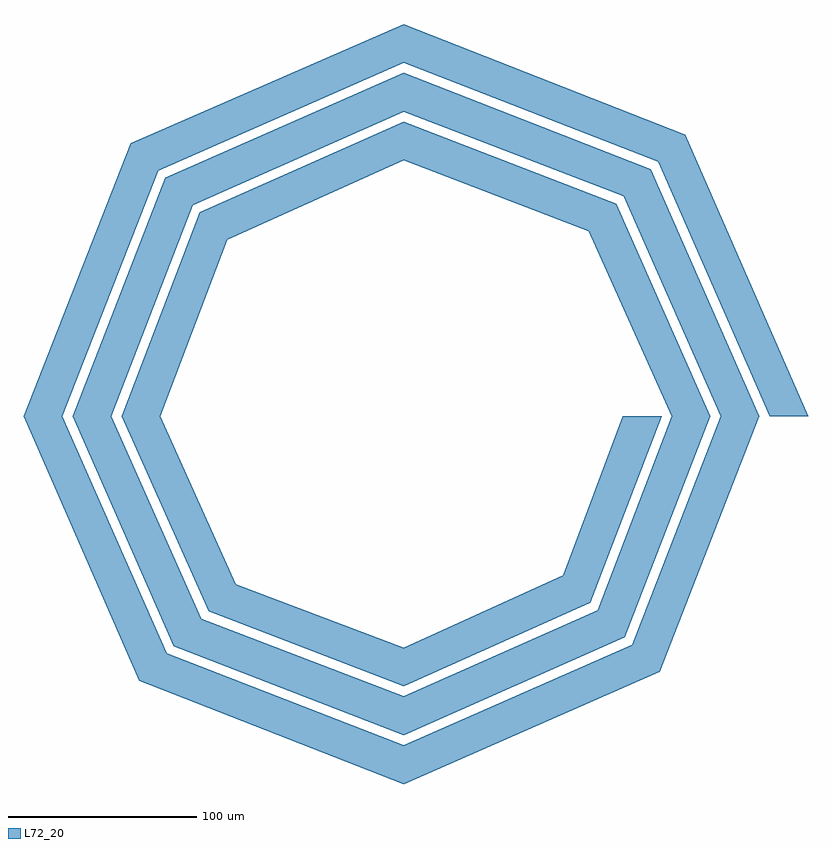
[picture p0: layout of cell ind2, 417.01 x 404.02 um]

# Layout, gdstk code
import gdstk
lib = gdstk.Library(unit=1e-6, precision=1e-09)
def P(c, l, *ps):  # polygons
    for p in ps: c.add(gdstk.Polygon(p, *l))
L72_20 = (72, 20)

ind2 = lib.new_cell('ind2')
P(ind2, L72_20, [(551.44,350.51),(492.19,485.7),(506.73,500.24),(572,350.51)],
  [(492.19,485.7),(357,538.45),(357,559.01),(506.73,500.24)],
  [(226.4,481.1),(211.86,495.65),(357,559.01),(357,538.45)],
  [(154.99,350.51),(211.86,495.65),(226.4,481.1),(175.55,350.51)],
  [(216.45,209.96),(154.99,350.51),(175.55,350.51),(231,224.5)],
  [(357,154.99),(216.45,209.96),(231,224.5),(357,175.55)],
  [(357,154.99),(357,175.55),(478.41,229.09),(492.96,214.55)],
  [(492.96,214.55),(478.41,229.09),(525.46,350.51),(546.02,350.51)],
  [(525.46,350.51),(473.82,467.33),(488.36,481.87),(546.02,350.51)],
  [(473.82,467.33),(357,512.47),(357,533.03),(488.36,481.87)],
  [(244.77,462.74),(230.23,477.28),(357,533.03),(357,512.47)],
  [(180.97,350.51),(230.23,477.28),(244.77,462.74),(201.53,350.51)],
  [(234.82,228.33),(180.97,350.51),(201.53,350.51),(249.36,242.87)],
  [(357,180.97),(234.82,228.33),(249.36,242.87),(357,201.53)],
  [(357,180.97),(357,201.53),(460.05,247.46),(474.59,232.92)],
  [(474.59,232.92),(460.05,247.46),(499.48,350.51),(520.05,350.51)],
  [(499.48,350.51),(455.45,448.96),(469.99,463.5),(520.05,350.51)],
  [(455.45,448.96),(357,486.49),(357,507.06),(469.99,463.5)],
  [(263.14,444.37),(248.6,458.91),(357,507.06),(357,486.49)],
  [(206.94,350.51),(248.6,458.91),(263.14,444.37),(227.51,350.51)],
  [(253.19,246.7),(206.94,350.51),(227.51,350.51),(267.73,261.24)],
  [(357,206.94),(253.19,246.7),(267.73,261.24),(357,227.51)],
  [(357,206.94),(357,227.51),(441.68,265.83),(456.22,251.29)],
  [(456.22,251.29),(441.68,265.83),(473.5,350.51),(494.07,350.51)])

lib.write_gds('ind2.gds')
